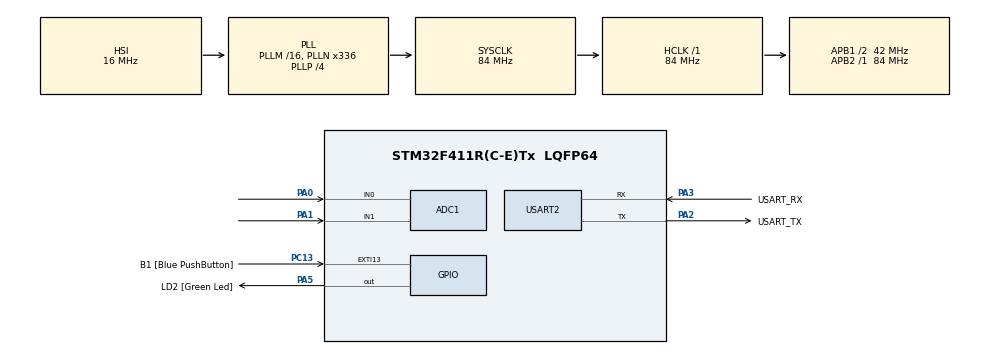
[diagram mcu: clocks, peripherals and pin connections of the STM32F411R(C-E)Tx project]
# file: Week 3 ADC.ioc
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ADC1.Channel-0\#ChannelRegularConversion=ADC_CHANNEL_0
ADC1.NbrOfConversionFlag=1
ADC1.Rank-0\#ChannelRegularConversion=1
ADC1.SamplingTime-0\#ChannelRegularConversion=ADC_SAMPLETIME_3CYCLES
ADC1.master=1
Mcu.Family=STM32F4
Mcu.Name=STM32F411R(C-E)Tx
Mcu.Package=LQFP64
NVIC.PriorityGroup=NVIC_PRIORITYGROUP_0
PA0-WKUP.Signal=ADCx_IN0
PA1.Signal=ADCx_IN1
PA13.GPIO_Label=TMS
PA13.Mode=Serial_Wire
PA13.Signal=SYS_JTMS-SWDIO
PA14.GPIO_Label=TCK
PA14.Mode=Serial_Wire
PA14.Signal=SYS_JTCK-SWCLK
PA2.GPIO_Label=USART_TX
PA2.Mode=Asynchronous
PA2.Signal=USART2_TX
PA3.GPIO_Label=USART_RX
PA3.Mode=Asynchronous
PA3.Signal=USART2_RX
PA5.GPIO_Label=LD2 [Green Led]
PA5.Signal=GPIO_Output
PB3.GPIO_Label=SWO
PB3.Signal=SYS_JTDO-SWO
PC13-ANTI_TAMP.GPIO_Label=B1 [Blue PushButton]
PC13-ANTI_TAMP.GPIO_ModeDefaultEXTI=GPIO_MODE_IT_FALLING
PC13-ANTI_TAMP.Signal=GPXTI13
PC14-OSC32_IN.Mode=LSE-External-Oscillator
PC14-OSC32_IN.Signal=RCC_OSC32_IN
PC15-OSC32_OUT.Mode=LSE-External-Oscillator
PC15-OSC32_OUT.Signal=RCC_OSC32_OUT
PH0\ -\ OSC_IN.Mode=HSE-External-Clock-Source
PH0\ -\ OSC_IN.Signal=RCC_OSC_IN
PH1\ -\ OSC_OUT.Mode=HSE-External-Clock-Source
PH1\ -\ OSC_OUT.Signal=RCC_OSC_OUT
ProjectManager.HeapSize=0x200
ProjectManager.StackSize=0x400
ProjectManager.TargetToolchain=STM32CubeIDE
RCC.48MHZClocksFreq_Value=84000000
RCC.AHBFreq_Value=84000000
RCC.APB1CLKDivider=RCC_HCLK_DIV2
RCC.APB1Freq_Value=42000000
RCC.APB1TimFreq_Value=84000000
RCC.APB2Freq_Value=84000000
RCC.APB2TimFreq_Value=84000000
RCC.CortexFreq_Value=84000000
RCC.FLatency-AdvancedSettings=FLASH_LATENCY_2
RCC.HCLKFreq_Value=84000000
RCC.HSE_VALUE=8000000
RCC.HSI_VALUE=16000000
RCC.PLLN=336
RCC.PLLP=RCC_PLLP_DIV4
RCC.SYSCLKFreq_VALUE=84000000
RCC.SYSCLKSource=RCC_SYSCLKSOURCE_PLLCLK
RCC.VCOOutputFreq_Value=336000000
SH.ADCx_IN0.0=ADC1_IN0,IN0
SH.ADCx_IN1.0=ADC1_IN1,IN1
USART2.VirtualMode=VM_ASYNC
VP_ADC1_TempSens_Input.Mode=IN-TempSens
board=NUCLEO-F411RE

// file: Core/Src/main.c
/* USER CODE BEGIN Header */
/**
  ******************************************************************************
  * @file           : main.c
  * @brief          : Main program body
  ******************************************************************************
  * @attention
  *
  * <h2><center>&copy; Copyright (c) 2021 STMicroelectronics.
  * All rights reserved.</center></h2>
  *
  * This software component is licensed by ST under BSD 3-Clause license,
  * the "License"; You may not use this file except in compliance with the
  * License. You may obtain a copy of the License at:
  *                        opensource.org/licenses/BSD-3-Clause
  *
  ******************************************************************************
  */
/* USER CODE END Header */
#include "main.h"

ADC_HandleTypeDef hadc1;

UART_HandleTypeDef huart2;

/* USER CODE BEGIN PV */

typedef struct
{
	ADC_ChannelConfTypeDef Config;
	uint32_t Data;
} ADCStructure;

ADCStructure ADCChannel[3] = {0};

/* USER CODE END PV */

void SystemClock_Config(void);
static void MX_GPIO_Init(void);
static void MX_USART2_UART_Init(void);
static void MX_ADC1_Init(void);
/* USER CODE BEGIN PFP */

void ADCPollingMethodInit();	//init Config of 3 ADC
void ADCPollingMethodUpdate(); 	//Read ADC From 3 Sources(In0,In1,Temp)

/* USER CODE END PFP */

int main(void)
{

  /* MCU Configuration--------------------------------------------------------*/

  /* Reset of all peripherals, Initializes the Flash interface and the Systick. */
  HAL_Init();

  /* Configure the system clock */
  SystemClock_Config();

  /* Initialize all configured peripherals */
  MX_GPIO_Init();
  MX_USART2_UART_Init();
  MX_ADC1_Init();
  /* USER CODE BEGIN 2 */
  ADCPollingMethodInit();
  /* USER CODE END 2 */

  /* Infinite loop */
  while (1)
  {

    /* USER CODE BEGIN 3 */
  //read analog
  ADCPollingMethodUpdate();
  }
  /* USER CODE END 3 */
}

void SystemClock_Config(void)
{
  RCC_OscInitTypeDef RCC_OscInitStruct = {0};
  RCC_ClkInitTypeDef RCC_ClkInitStruct = {0};

  /** Configure the main internal regulator output voltage
  */
  __HAL_RCC_PWR_CLK_ENABLE();
  __HAL_PWR_VOLTAGESCALING_CONFIG(PWR_REGULATOR_VOLTAGE_SCALE1);
  /** Initializes the RCC Oscillators according to the specified parameters
  * in the RCC_OscInitTypeDef structure.
  */
  RCC_OscInitStruct.OscillatorType = RCC_OSCILLATORTYPE_HSI;
  RCC_OscInitStruct.HSIState = RCC_HSI_ON;
  RCC_OscInitStruct.HSICalibrationValue = RCC_HSICALIBRATION_DEFAULT;
  RCC_OscInitStruct.PLL.PLLState = RCC_PLL_ON;
  RCC_OscInitStruct.PLL.PLLSource = RCC_PLLSOURCE_HSI;
  RCC_OscInitStruct.PLL.PLLM = 16;
  RCC_OscInitStruct.PLL.PLLN = 336;
  RCC_OscInitStruct.PLL.PLLP = RCC_PLLP_DIV4;
  RCC_OscInitStruct.PLL.PLLQ = 4;
  if (HAL_RCC_OscConfig(&RCC_OscInitStruct) != HAL_OK)
  {
    Error_Handler();
  }
  /** Initializes the CPU, AHB and APB buses clocks
  */
  RCC_ClkInitStruct.ClockType = RCC_CLOCKTYPE_HCLK|RCC_CLOCKTYPE_SYSCLK
                              |RCC_CLOCKTYPE_PCLK1|RCC_CLOCKTYPE_PCLK2;
  RCC_ClkInitStruct.SYSCLKSource = RCC_SYSCLKSOURCE_PLLCLK;
  RCC_ClkInitStruct.AHBCLKDivider = RCC_SYSCLK_DIV1;
  RCC_ClkInitStruct.APB1CLKDivider = RCC_HCLK_DIV2;
  RCC_ClkInitStruct.APB2CLKDivider = RCC_HCLK_DIV1;

  if (HAL_RCC_ClockConfig(&RCC_ClkInitStruct, FLASH_LATENCY_2) != HAL_OK)
  {
    Error_Handler();
  }
}

static void MX_ADC1_Init(void)
{

  ADC_ChannelConfTypeDef sConfig = {0};

  /** Configure the global features of the ADC (Clock, Resolution, Data Alignment and number of conversion)
  */
  hadc1.Instance = ADC1;
  hadc1.Init.ClockPrescaler = ADC_CLOCK_SYNC_PCLK_DIV4;
  hadc1.Init.Resolution = ADC_RESOLUTION_12B;
  hadc1.Init.ScanConvMode = DISABLE;
  hadc1.Init.ContinuousConvMode = DISABLE;
  hadc1.Init.DiscontinuousConvMode = DISABLE;
  hadc1.Init.ExternalTrigConvEdge = ADC_EXTERNALTRIGCONVEDGE_NONE;
  hadc1.Init.ExternalTrigConv = ADC_SOFTWARE_START;
  hadc1.Init.DataAlign = ADC_DATAALIGN_RIGHT;
  hadc1.Init.NbrOfConversion = 1;
  hadc1.Init.DMAContinuousRequests = DISABLE;
  hadc1.Init.EOCSelection = ADC_EOC_SINGLE_CONV;
  if (HAL_ADC_Init(&hadc1) != HAL_OK)
  {
    Error_Handler();
  }
  /** Configure for the selected ADC regular channel its corresponding rank in the sequencer and its sample time.
  */
  sConfig.Channel = ADC_CHANNEL_0;
  sConfig.Rank = 1;
  sConfig.SamplingTime = ADC_SAMPLETIME_3CYCLES;
  if (HAL_ADC_ConfigChannel(&hadc1, &sConfig) != HAL_OK)
  {
    Error_Handler();
  }

}

static void MX_USART2_UART_Init(void)
{

  huart2.Instance = USART2;
  huart2.Init.BaudRate = 115200;
  huart2.Init.WordLength = UART_WORDLENGTH_8B;
  huart2.Init.StopBits = UART_STOPBITS_1;
  huart2.Init.Parity = UART_PARITY_NONE;
  huart2.Init.Mode = UART_MODE_TX_RX;
  huart2.Init.HwFlowCtl = UART_HWCONTROL_NONE;
  huart2.Init.OverSampling = UART_OVERSAMPLING_16;
  if (HAL_UART_Init(&huart2) != HAL_OK)
  {
    Error_Handler();
  }

}

static void MX_GPIO_Init(void)
{
  GPIO_InitTypeDef GPIO_InitStruct = {0};

  /* GPIO Ports Clock Enable */
  __HAL_RCC_GPIOC_CLK_ENABLE();
  __HAL_RCC_GPIOH_CLK_ENABLE();
  __HAL_RCC_GPIOA_CLK_ENABLE();
  __HAL_RCC_GPIOB_CLK_ENABLE();

  /*Configure GPIO pin Output Level */
  HAL_GPIO_WritePin(LD2_GPIO_Port, LD2_Pin, GPIO_PIN_RESET);

  /*Configure GPIO pin : B1_Pin */
  GPIO_InitStruct.Pin = B1_Pin;
  GPIO_InitStruct.Mode = GPIO_MODE_IT_FALLING;
  GPIO_InitStruct.Pull = GPIO_NOPULL;
  HAL_GPIO_Init(B1_GPIO_Port, &GPIO_InitStruct);

  /*Configure GPIO pin : LD2_Pin */
  GPIO_InitStruct.Pin = LD2_Pin;
  GPIO_InitStruct.Mode = GPIO_MODE_OUTPUT_PP;
  GPIO_InitStruct.Pull = GPIO_NOPULL;
  GPIO_InitStruct.Speed = GPIO_SPEED_FREQ_LOW;
  HAL_GPIO_Init(LD2_GPIO_Port, &GPIO_InitStruct);

}

/* USER CODE BEGIN 4 */
///ADC_ChannelConfTypeDef sConfig[3];
///uint32_t Data[3];
void ADCPollingMethodInit()
{
	//PA0 - ADC IN0
	ADCChannel[0].Config.Channel = ADC_CHANNEL_0;
	ADCChannel[0].Config.Rank = 1;
	ADCChannel[0].Config.SamplingTime = ADC_SAMPLETIME_3CYCLES;

	//PA1 - ADC IN1
	ADCChannel[1].Config.Channel = ADC_CHANNEL_1;
	ADCChannel[1].Config.Rank = 1;
	ADCChannel[1].Config.SamplingTime = ADC_SAMPLETIME_3CYCLES;

	//Temp
	ADCChannel[2].Config.Channel = ADC_CHANNEL_TEMPSENSOR;
	ADCChannel[2].Config.Rank = 1;
	ADCChannel[2].Config.SamplingTime = ADC_SAMPLETIME_3CYCLES;

}
void ADCPollingMethodUpdate()
{
	for (int i = 0; i < 3; i++)
	{
		//select channel
		HAL_ADC_ConfigChannel(&hadc1, &ADCChannel[i].Config);

		//ADC Sampling, Convert
		HAL_ADC_Start(&hadc1);

		//Wait ADC
		if (HAL_ADC_PollForConversion(&hadc1, 10) == HAL_OK)
		{
			//Get Value
			ADCChannel[i].Data = HAL_ADC_GetValue(&hadc1);
		}

		//Stop
		HAL_ADC_Stop(&hadc1);
	}

}
/* USER CODE END 4 */

void Error_Handler(void)
{
  __disable_irq();
  while (1)
  {
  }
}

/************************ (C) COPYRIGHT STMicroelectronics *****END OF FILE****/
